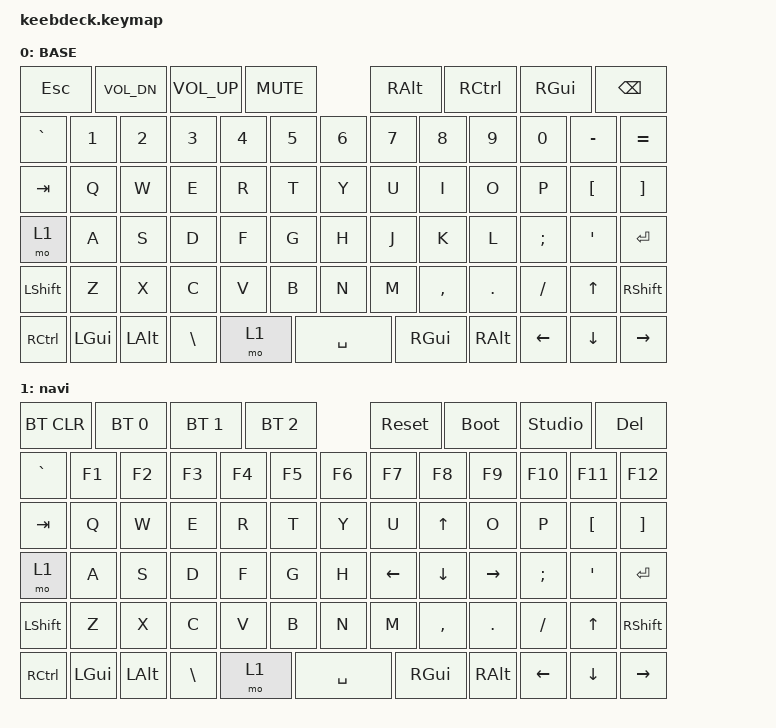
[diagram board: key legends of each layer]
#include <behaviors.dtsi>
#include <dt-bindings/zmk/keys.h>
#include <dt-bindings/zmk/bt.h>
#include <dt-bindings/zmk/outputs.h>

/ {
    keymap {
        compatible = "zmk,keymap";

        base {
            display-name = "BASE";
            bindings = <
                &kp ESC   &kp C_VOL_DN  &kp C_VOL_UP  &kp C_MUTE                                          &kp RALT  &kp RCTRL &kp RGUI  &kp BSPC
                &kp GRAVE &kp N1    &kp N2    &kp N3    &kp N4    &kp N5    &kp N6    &kp N7    &kp N8    &kp N9    &kp N0    &kp MINUS &kp EQUAL
                &kp TAB   &kp Q     &kp W     &kp E     &kp R     &kp T     &kp Y     &kp U     &kp I     &kp O     &kp P     &kp LBKT  &kp RBKT
                &mo 1     &kp A     &kp S     &kp D     &kp F     &kp G     &kp H     &kp J     &kp K     &kp L     &kp SEMI  &kp SQT   &kp ENTER
                &kp LSHFT &kp Z     &kp X     &kp C     &kp V     &kp B     &kp N     &kp M     &kp COMMA &kp DOT   &kp FSLH  &kp UP    &kp RSHFT
                &kp RCTRL &kp LGUI  &kp LALT  &kp BSLH  &mo 1               &kp SPACE           &kp RGUI  &kp RALT  &kp LEFT  &kp DOWN  &kp RIGHT
            >;
        };

        navi {
            display-name = "navi";
            bindings = <
                &bt BT_CLR  &bt BT_SEL 0  &bt BT_SEL 1  &bt BT_SEL 2                                      &sys_reset  &bootloader   &studio_unlock &kp DELETE
                &kp GRAVE   &kp F1        &kp F2        &kp F3    &kp F4    &kp F5    &kp F6    &kp F7    &kp F8    &kp F9    &kp F10   &kp F11   &kp F12
                &kp TAB     &kp Q         &kp W         &kp E     &kp R     &kp T     &kp Y     &kp U     &kp UP    &kp O     &kp P     &kp LBKT  &kp RBKT
                &mo 1       &kp A         &kp S         &kp D     &kp F     &kp G     &kp H     &kp LEFT  &kp DOWN  &kp RIGHT &kp SEMI  &kp SQT   &kp ENTER
                &kp LSHFT   &kp Z         &kp X         &kp C     &kp V     &kp B     &kp N     &kp M     &kp COMMA &kp DOT   &kp FSLH  &kp UP    &kp RSHFT
                &kp RCTRL   &kp LGUI      &kp LALT      &kp BSLH  &mo 1               &kp SPACE           &kp RGUI  &kp RALT  &kp LEFT  &kp DOWN  &kp RIGHT
            >;
        };

        extra_1 {
                status = "reserved";
        };

        extra_2 {
                status = "reserved";
        };

        extra_3 {
                status = "reserved";
        };
    };
};
